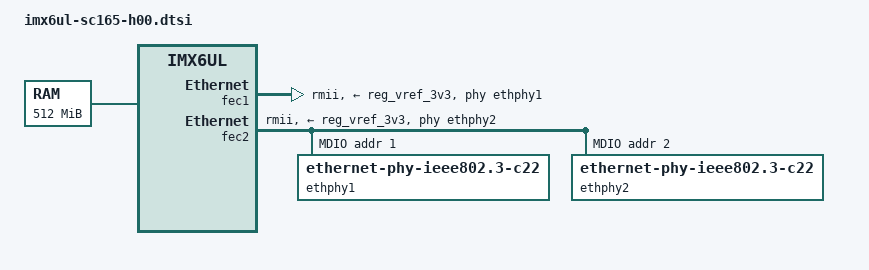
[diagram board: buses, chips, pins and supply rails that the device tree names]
/*
 * Copyright (C) 2015 Freescale Semiconductor, Inc.
 * Copyright (C) 2016 Beck IPC GmbH
 * Copyright (C) 2017 Kernel Concepts GmbH
 *
 * This program is free software; you can redistribute it and/or modify
 * it under the terms of the GNU General Public License version 2 as
 * published by the Free Software Foundation.
 */

/* Device tree include for SC165 H00 */

#include "imx6ul-sc1x5-common.dtsi"

/ {
    memory {
        reg = <0x80000000 0x20000000>;
    };   
};

&fec1 {
    pinctrl-names = "default";
    pinctrl-0 = <&pinctrl_enet1>;
    phy-mode = "rmii";
    phy-handle = <&ethphy1>;
    phy-supply = <&reg_vref_3v3>;
    bus-no = <0>;
    status = "okay";
};

&fec2 {
    pinctrl-names = "default";
    pinctrl-0 = <&pinctrl_enet2>;
    phy-mode = "rmii";
    phy-handle = <&ethphy2>;
    phy-supply = <&reg_vref_3v3>;
    bus-no = <1>;
    status = "okay";

    mdio {
        #address-cells = <1>;
        #size-cells = <0>;

        ethphy1: ethernet-phy@1 {
            compatible = "ethernet-phy-ieee802.3-c22";
            reg = <1>;
        };

        ethphy2: ethernet-phy@2 {
            compatible = "ethernet-phy-ieee802.3-c22";
            reg = <2>;
        };
    };
};
